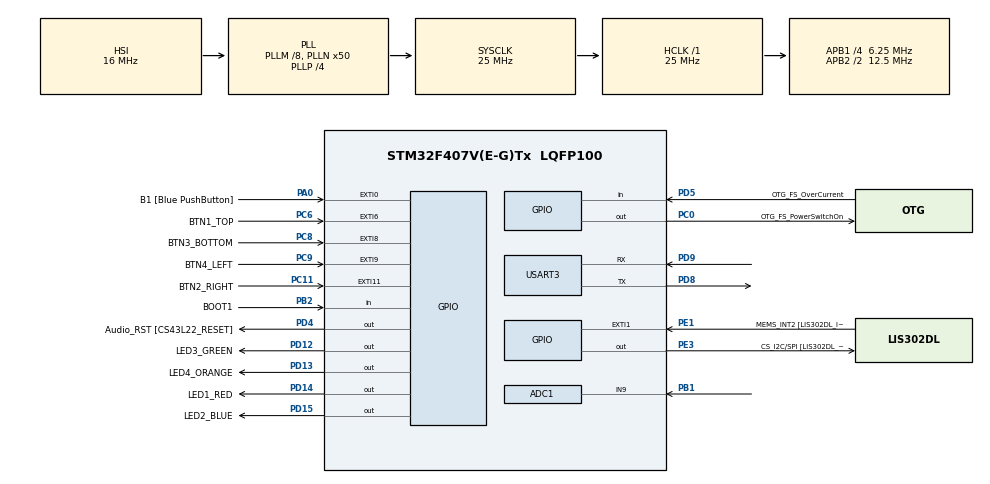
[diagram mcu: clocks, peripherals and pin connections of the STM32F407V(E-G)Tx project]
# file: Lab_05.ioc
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ADC1.Channel-0\#ChannelRegularConversion=ADC_CHANNEL_9
ADC1.NbrOfConversionFlag=1
ADC1.Rank-0\#ChannelRegularConversion=1
ADC1.SamplingTime-0\#ChannelRegularConversion=ADC_SAMPLETIME_480CYCLES
ADC1.master=1
Mcu.Family=STM32F4
Mcu.Name=STM32F407V(E-G)Tx
Mcu.Package=LQFP100
NVIC.EXTI15_10_IRQn=true\:0\:0\:false\:false\:true\:true\:true
NVIC.EXTI9_5_IRQn=true\:0\:0\:false\:false\:true\:true\:true
NVIC.PriorityGroup=NVIC_PRIORITYGROUP_0
NVIC.USART3_IRQn=true\:0\:0\:false\:false\:true\:true\:true
PA0-WKUP.GPIO_Label=B1 [Blue PushButton]
PA0-WKUP.Signal=GPXTI0
PA10.GPIO_Label=OTG_FS_ID
PA10.GPIO_Mode=GPIO_MODE_AF_PP
PA10.GPIO_PuPd=GPIO_NOPULL
PA10.GPIO_Speed=GPIO_SPEED_FREQ_LOW
PA10.Signal=USB_OTG_FS_ID
PA11.GPIO_Label=OTG_FS_DM
PA11.GPIO_Mode=GPIO_MODE_AF_PP
PA11.GPIO_PuPd=GPIO_NOPULL
PA11.GPIO_Speed=GPIO_SPEED_FREQ_LOW
PA11.Signal=USB_OTG_FS_DM
PA12.GPIO_Label=OTG_FS_DP
PA12.GPIO_Mode=GPIO_MODE_AF_PP
PA12.GPIO_PuPd=GPIO_NOPULL
PA12.GPIO_Speed=GPIO_SPEED_FREQ_LOW
PA12.Signal=USB_OTG_FS_DP
PA13.GPIO_Label=SWDIO
PA13.Signal=SYS_JTMS-SWDIO
PA14.GPIO_Label=SWCLK
PA14.Signal=SYS_JTCK-SWCLK
PA4.GPIO_Label=I2S3_WS [CS43L22_LRCK]
PA4.GPIO_Mode=GPIO_MODE_AF_PP
PA4.GPIO_PuPd=GPIO_NOPULL
PA4.GPIO_Speed=GPIO_SPEED_FREQ_LOW
PA4.Signal=I2S3_WS
PA5.GPIO_Label=SPI1_SCK [LIS302DL_SCL/SPC]
PA5.GPIO_Mode=GPIO_MODE_AF_PP
PA5.GPIO_PuPd=GPIO_NOPULL
PA5.GPIO_Speed=GPIO_SPEED_FREQ_LOW
PA5.Signal=SPI1_SCK
PA6.GPIO_Label=SPI1_MISO [LIS302DL_SDO]
PA6.GPIO_Mode=GPIO_MODE_AF_PP
PA6.GPIO_PuPd=GPIO_NOPULL
PA6.GPIO_Speed=GPIO_SPEED_FREQ_LOW
PA6.Signal=SPI1_MISO
PA7.GPIO_Label=SPI1_MOSI [LIS302DL_SDA/SDI/SDO]
PA7.GPIO_Mode=GPIO_MODE_AF_PP
PA7.GPIO_PuPd=GPIO_NOPULL
PA7.GPIO_Speed=GPIO_SPEED_FREQ_LOW
PA7.Signal=SPI1_MOSI
PA9.GPIO_Label=VBUS_FS
PA9.GPIO_Mode=GPIO_MODE_INPUT
PA9.GPIO_PuPd=GPIO_NOPULL
PA9.Signal=USB_OTG_FS_VBUS
PB1.Signal=ADCx_IN9
PB10.GPIO_Label=CLK_IN [MP45DT02_CLK]
PB10.GPIO_Mode=GPIO_MODE_AF_PP
PB10.GPIO_PuPd=GPIO_NOPULL
PB10.GPIO_Speed=GPIO_SPEED_FREQ_LOW
PB10.Signal=I2S2_CK
PB2.GPIO_Label=BOOT1
PB2.GPIO_Mode=GPIO_MODE_INPUT
PB2.GPIO_PuPd=GPIO_NOPULL
PB2.Signal=GPIO_Input
PB3.GPIO_Label=SWO
PB3.Signal=SYS_JTDO-SWO
PB6.GPIO_Label=Audio_SCL [CS43L22_SCL]
PB6.GPIO_Mode=GPIO_MODE_AF_OD
PB6.GPIO_PuPd=GPIO_NOPULL
PB6.GPIO_Speed=GPIO_SPEED_FREQ_LOW
PB6.Signal=I2C1_SCL
PB9.GPIO_Label=Audio_SDA [CS43L22_SDA]
PB9.GPIO_Mode=GPIO_MODE_AF_OD
PB9.GPIO_PuPd=GPIO_NOPULL
PB9.GPIO_Speed=GPIO_SPEED_FREQ_LOW
PB9.Signal=I2C1_SDA
PC0.GPIO_Label=OTG_FS_PowerSwitchOn
PC0.GPIO_PuPd=GPIO_NOPULL
PC0.GPIO_Speed=GPIO_SPEED_FREQ_LOW
PC0.PinState=GPIO_PIN_SET
PC0.Signal=GPIO_Output
PC10.GPIO_Label=I2S3_SCK [CS43L22_SCLK]
PC10.GPIO_Mode=GPIO_MODE_AF_PP
PC10.GPIO_PuPd=GPIO_NOPULL
PC10.GPIO_Speed=GPIO_SPEED_FREQ_LOW
PC10.Signal=I2S3_CK
PC11.GPIO_Label=BTN2_RIGHT
PC11.GPIO_ModeDefaultEXTI=GPIO_MODE_IT_FALLING
PC11.Signal=GPXTI11
PC12.GPIO_Label=I2S3_SD [CS43L22_SDIN]
PC12.GPIO_Mode=GPIO_MODE_AF_PP
PC12.GPIO_PuPd=GPIO_NOPULL
PC12.GPIO_Speed=GPIO_SPEED_FREQ_LOW
PC12.Signal=I2S3_SD
PC14-OSC32_IN.GPIO_Label=PC14-OSC32_IN
PC14-OSC32_IN.Signal=RCC_OSC32_IN
PC15-OSC32_OUT.GPIO_Label=PC15-OSC32_OUT
PC15-OSC32_OUT.Signal=RCC_OSC32_OUT
PC3.GPIO_Label=PDM_OUT [MP45DT02_DOUT]
PC3.GPIO_Mode=GPIO_MODE_AF_PP
PC3.GPIO_PuPd=GPIO_NOPULL
PC3.GPIO_Speed=GPIO_SPEED_FREQ_LOW
PC3.Signal=I2S2_SD
PC6.GPIO_Label=BTN1_TOP
PC6.GPIO_ModeDefaultEXTI=GPIO_MODE_IT_FALLING
PC6.Signal=GPXTI6
PC7.GPIO_Label=I2S3_MCK [CS43L22_MCLK]
PC7.GPIO_Mode=GPIO_MODE_AF_PP
PC7.GPIO_PuPd=GPIO_NOPULL
PC7.GPIO_Speed=GPIO_SPEED_FREQ_LOW
PC7.Signal=I2S3_MCK
PC8.GPIO_Label=BTN3_BOTTOM
PC8.GPIO_ModeDefaultEXTI=GPIO_MODE_IT_FALLING
PC8.Signal=GPXTI8
PC9.GPIO_Label=BTN4_LEFT
PC9.GPIO_ModeDefaultEXTI=GPIO_MODE_IT_FALLING
PC9.Signal=GPXTI9
PD12.GPIO_Label=LED3_GREEN
PD12.GPIO_PuPd=GPIO_NOPULL
PD12.GPIO_Speed=GPIO_SPEED_FREQ_LOW
PD12.Signal=GPIO_Output
PD13.GPIO_Label=LED4_ORANGE
PD13.GPIO_PuPd=GPIO_NOPULL
PD13.GPIO_Speed=GPIO_SPEED_FREQ_LOW
PD13.Signal=GPIO_Output
PD14.GPIO_Label=LED1_RED
PD14.GPIO_PuPd=GPIO_NOPULL
PD14.GPIO_Speed=GPIO_SPEED_FREQ_LOW
PD14.Signal=GPIO_Output
PD15.GPIO_Label=LED2_BLUE
PD15.GPIO_PuPd=GPIO_NOPULL
PD15.GPIO_Speed=GPIO_SPEED_FREQ_LOW
PD15.Signal=GPIO_Output
PD4.GPIO_Label=Audio_RST [CS43L22_RESET]
PD4.GPIO_PuPd=GPIO_NOPULL
PD4.GPIO_Speed=GPIO_SPEED_FREQ_LOW
PD4.Signal=GPIO_Output
PD5.GPIO_Label=OTG_FS_OverCurrent
PD5.GPIO_Mode=GPIO_MODE_INPUT
PD5.GPIO_PuPd=GPIO_NOPULL
PD5.Signal=GPIO_Input
PD8.Mode=Asynchronous
PD8.Signal=USART3_TX
PD9.Mode=Asynchronous
PD9.Signal=USART3_RX
PE1.GPIO_Label=MEMS_INT2 [LIS302DL_INT2]
PE1.GPIO_ModeDefaultEXTI=GPIO_MODE_EVT_RISING
PE1.GPIO_PuPd=GPIO_NOPULL
PE1.Signal=GPXTI1
PE3.GPIO_Label=CS_I2C/SPI [LIS302DL_CS_I2C/SPI]
PE3.GPIO_PuPd=GPIO_NOPULL
PE3.GPIO_Speed=GPIO_SPEED_FREQ_LOW
PE3.Signal=GPIO_Output
PH0-OSC_IN.GPIO_Label=PH0-OSC_IN
PH0-OSC_IN.Signal=RCC_OSC_IN
PH1-OSC_OUT.GPIO_Label=PH1-OSC_OUT
PH1-OSC_OUT.Signal=RCC_OSC_OUT
ProjectManager.HeapSize=0x200
ProjectManager.StackSize=0x400
ProjectManager.TargetToolchain=STM32CubeIDE
RCC.48MHZClocksFreq_Value=14285714.285714285
RCC.AHBFreq_Value=25000000
RCC.APB1CLKDivider=RCC_HCLK_DIV4
RCC.APB1Freq_Value=6250000
RCC.APB1TimFreq_Value=12500000
RCC.APB2CLKDivider=RCC_HCLK_DIV2
RCC.APB2Freq_Value=12500000
RCC.APB2TimFreq_Value=25000000
RCC.CortexFreq_Value=25000000
RCC.HCLKFreq_Value=25000000
RCC.HSE_VALUE=8000000
RCC.HSI_VALUE=16000000
RCC.LSE_VALUE=32768
RCC.PLLM=8
RCC.PLLN=50
RCC.PLLP=RCC_PLLP_DIV4
RCC.PLLQ=7
RCC.SYSCLKFreq_VALUE=25000000
RCC.SYSCLKSource=RCC_SYSCLKSOURCE_PLLCLK
RCC.VCOOutputFreq_Value=100000000
SH.ADCx_IN9.0=ADC1_IN9,IN9
USART3.VirtualMode=VM_ASYNC
board=STM32F407G-DISC1

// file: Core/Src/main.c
/* USER CODE BEGIN Header */
/**
  ******************************************************************************
  * @file           : main.c
  * @brief          : Main program body
  ******************************************************************************
  * @attention
  *
  * <h2><center>&copy; Copyright (c) 2021 STMicroelectronics.
  * All rights reserved.</center></h2>
  *
  * This software component is licensed by ST under BSD 3-Clause license,
  * the "License"; You may not use this file except in compliance with the
  * License. You may obtain a copy of the License at:
  *                        opensource.org/licenses/BSD-3-Clause
  *
  ******************************************************************************
  */
/* USER CODE END Header */
#include "main.h"
#include "adc.h"
#include "usart.h"
#include "gpio.h"

/* USER CODE BEGIN Includes */
#include <string.h>
#include <stdio.h>
/* USER CODE END Includes */

/* USER CODE BEGIN PV */
const uint32_t MIN_EXT_T = -24;
const uint32_t MAX_EXT_T = 100;
const uint32_t RANGE_EXT_T = MAX_EXT_T - MIN_EXT_T;
const uint32_t EXT_T_ADC0 = 2507;
const uint32_t AVG_SLOPE = 25;
uint32_t external_temperature = 0;

uint8_t rx;
uint8_t command[64];
uint8_t command_ready = 0;

uint16_t LED_Pins[] = {	LED1_RED_Pin,
						LED2_BLUE_Pin,
						LED3_GREEN_Pin,
						LED4_ORANGE_Pin };

/* USER CODE END PV */

void SystemClock_Config(void);
/* USER CODE BEGIN PFP */
void Measure_External_Temperature(void);
void Handle_Command(void);
/* USER CODE END PFP */

int main(void)
{

  /* MCU Configuration--------------------------------------------------------*/

  /* Reset of all peripherals, Initializes the Flash interface and the Systick. */
  HAL_Init();

  /* Configure the system clock */
  SystemClock_Config();

  /* Initialize all configured peripherals */
  MX_GPIO_Init();
  MX_ADC1_Init();
  MX_USART3_UART_Init();
  /* USER CODE BEGIN 2 */
  HAL_UART_Receive_IT(&huart3, &rx, 1);
  uint32_t current_tick = HAL_GetTick();
  uint32_t previous_tick = 0;
  char temperature_msg[sizeof("Temperature: ___ C\r\n")] = {};
  /* USER CODE END 2 */

  /* Infinite loop */
  /* USER CODE BEGIN WHILE */
  while (1)
  {
	  if (command_ready)
	  {
		  command_ready = 0;
		  Handle_Command();
	  }
	  current_tick = HAL_GetTick();

	  if (current_tick - previous_tick >= 5000)
	  {
		  Measure_External_Temperature();
		  sprintf(temperature_msg, "Temperature: %d C\r\n", external_temperature);
		  HAL_UART_Transmit(&huart3, temperature_msg, sizeof(temperature_msg), 100);
		  previous_tick = current_tick;
	  }
    /* USER CODE END WHILE */

  }
}

void SystemClock_Config(void)
{
  RCC_OscInitTypeDef RCC_OscInitStruct = {0};
  RCC_ClkInitTypeDef RCC_ClkInitStruct = {0};

  /** Configure the main internal regulator output voltage
  */
  __HAL_RCC_PWR_CLK_ENABLE();
  __HAL_PWR_VOLTAGESCALING_CONFIG(PWR_REGULATOR_VOLTAGE_SCALE1);
  /** Initializes the RCC Oscillators according to the specified parameters
  * in the RCC_OscInitTypeDef structure.
  */
  RCC_OscInitStruct.OscillatorType = RCC_OSCILLATORTYPE_HSI;
  RCC_OscInitStruct.HSIState = RCC_HSI_ON;
  RCC_OscInitStruct.HSICalibrationValue = RCC_HSICALIBRATION_DEFAULT;
  RCC_OscInitStruct.PLL.PLLState = RCC_PLL_ON;
  RCC_OscInitStruct.PLL.PLLSource = RCC_PLLSOURCE_HSI;
  RCC_OscInitStruct.PLL.PLLM = 8;
  RCC_OscInitStruct.PLL.PLLN = 50;
  RCC_OscInitStruct.PLL.PLLP = RCC_PLLP_DIV4;
  RCC_OscInitStruct.PLL.PLLQ = 7;
  if (HAL_RCC_OscConfig(&RCC_OscInitStruct) != HAL_OK)
  {
    Error_Handler();
  }
  /** Initializes the CPU, AHB and APB buses clocks
  */
  RCC_ClkInitStruct.ClockType = RCC_CLOCKTYPE_HCLK|RCC_CLOCKTYPE_SYSCLK
                              |RCC_CLOCKTYPE_PCLK1|RCC_CLOCKTYPE_PCLK2;
  RCC_ClkInitStruct.SYSCLKSource = RCC_SYSCLKSOURCE_PLLCLK;
  RCC_ClkInitStruct.AHBCLKDivider = RCC_SYSCLK_DIV1;
  RCC_ClkInitStruct.APB1CLKDivider = RCC_HCLK_DIV4;
  RCC_ClkInitStruct.APB2CLKDivider = RCC_HCLK_DIV2;

  if (HAL_RCC_ClockConfig(&RCC_ClkInitStruct, FLASH_LATENCY_0) != HAL_OK)
  {
    Error_Handler();
  }
}

/* USER CODE BEGIN 4 */
void Measure_External_Temperature(void)
{
	HAL_StatusTypeDef dac_poll_result;
	uint32_t adc_value;

	HAL_ADC_Start(&hadc1);
	dac_poll_result = HAL_ADC_PollForConversion(&hadc1, 1);
	if (dac_poll_result == HAL_OK)
	{
		adc_value = HAL_ADC_GetValue(&hadc1);
		external_temperature = (EXT_T_ADC0 - adc_value) / AVG_SLOPE;
	}
}

void Handle_Command(void)
{
	int num;
	char cmd[sizeof("toggle")];
	char ok_response_msg[sizeof("OK: led N is off\r\n")] = {0};

	if(sscanf(command, "led %d %s", &num, cmd) != 2)
	{
		HAL_UART_Transmit(&huart3, "ERROR: unknown command\r\n", sizeof("ERROR: unknown command\r\n"), 100);
		return;
	}
	if(num < 1 || num > 4)
	{
		HAL_UART_Transmit(&huart3, "ERROR: wrong led number\r\n", sizeof("ERROR: wrong led number\r\n"), 100);
		return;
	}

	if(strcmp(cmd, "on") == 0)
	{
		HAL_GPIO_WritePin(GPIOD, LED_Pins[num-1], GPIO_PIN_SET);
		sprintf(ok_response_msg, "OK: led %d is on\r\n", num);
	}
	else if(strcmp(cmd, "off") == 0)
	{
		HAL_GPIO_WritePin(GPIOD, LED_Pins[num-1], GPIO_PIN_RESET);
		sprintf(ok_response_msg, "OK: led %d is off\r\n", num);
	}
	else if(strcmp(cmd, "toggle") == 0)
	{
		HAL_GPIO_TogglePin(GPIOD, LED_Pins[num-1]);
		if (HAL_GPIO_ReadPin(GPIOD, LED_Pins[num-1]) == 1)
		{
			sprintf(ok_response_msg, "OK: led %d is on\r\n", num);
		}
		else
		{
			sprintf(ok_response_msg, "OK: led %d is off\r\n", num);
		}
	}
	else
	{
		HAL_UART_Transmit(&huart3, "ERROR: wrong led command\r\n", sizeof("ERROR: wrong led command\r\n"), 100);
		return;
	}
	HAL_UART_Transmit(&huart3, ok_response_msg, sizeof(ok_response_msg), 100);
}

void HAL_GPIO_EXTI_Callback(uint16_t GPIO_Pin)
{
	switch(GPIO_Pin)
	{

	case BTN1_TOP_Pin:
		HAL_GPIO_TogglePin(GPIOD, LED1_RED_Pin);
		if (HAL_GPIO_ReadPin(GPIOD, LED1_RED_Pin))
		{
			HAL_UART_Transmit(&huart3, "LED1 is on\r\n", sizeof("LED1 is on\r\n"), 10);
		}
		else
		{
			HAL_UART_Transmit(&huart3, "LED1 is off\r\n", sizeof("LED1 is off\r\n"), 10);
		}
		break;

	case BTN2_RIGHT_Pin:
		HAL_GPIO_TogglePin(GPIOD, LED2_BLUE_Pin);
		if (HAL_GPIO_ReadPin(GPIOD, LED2_BLUE_Pin))
		{
			HAL_UART_Transmit(&huart3, "LED2 is on\r\n", sizeof("LED2 is on\r\n"), 10);
		}
		else
		{
			HAL_UART_Transmit(&huart3, "LED2 is off\r\n", sizeof("LED2 is off\r\n"), 10);
		}
		break;

	case BTN3_BOTTOM_Pin:
		HAL_GPIO_TogglePin(GPIOD, LED3_GREEN_Pin);
		if (HAL_GPIO_ReadPin(GPIOD, LED3_GREEN_Pin))
		{
			HAL_UART_Transmit(&huart3, "LED3 is on\r\n", sizeof("LED3 is on\r\n"), 10);
		}
		else
		{
			HAL_UART_Transmit(&huart3, "LED3 is off\r\n", sizeof("LED3 is off\r\n"), 10);
		}
		break;

	case BTN4_LEFT_Pin:
		HAL_GPIO_TogglePin(GPIOD, LED4_ORANGE_Pin);
		if (HAL_GPIO_ReadPin(GPIOD, LED4_ORANGE_Pin))
		{
			HAL_UART_Transmit(&huart3, "LED4 is on\r\n", sizeof("LED4 is on\r\n"), 10);
		}
		else
		{
			HAL_UART_Transmit(&huart3, "LED4 is off\r\n", sizeof("LED4 is off\r\n"), 10);
		}
		break;
	}
}

void HAL_UART_RxCpltCallback(UART_HandleTypeDef *huart)
{
	static uint8_t cmd[64];
	static uint8_t index;
	cmd[index] = rx;

	if (rx == '\n')
	{
		cmd[index] = 0;
		index = 0;
		strncpy(command, cmd, sizeof(command));
		command_ready = 1;
	}
	else if (rx == '\r')
	{

	}
	else {
		cmd[index++] = rx;
	}
	HAL_UART_Receive_IT(&huart3, &rx, 1);
}

/* USER CODE END 4 */

void Error_Handler(void)
{
  __disable_irq();
  while (1)
  {
  }
}

/************************ (C) COPYRIGHT STMicroelectronics *****END OF FILE****/
